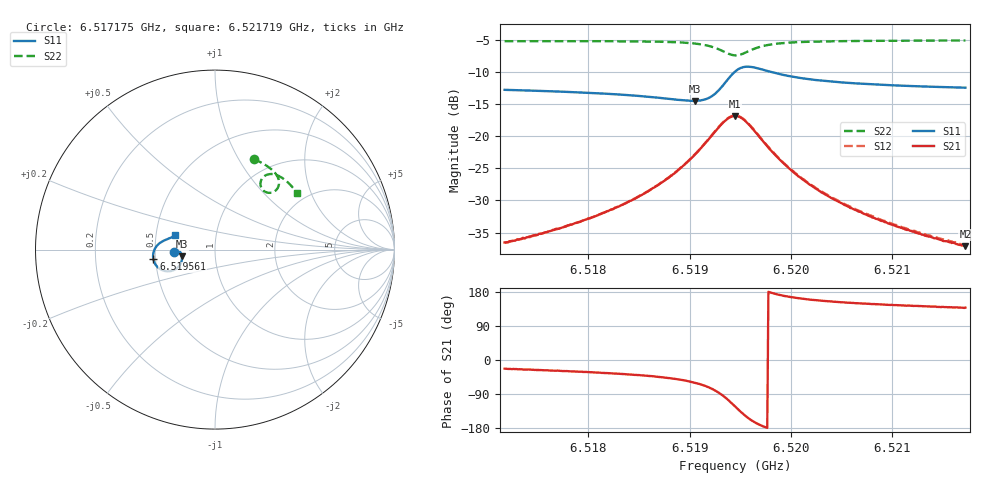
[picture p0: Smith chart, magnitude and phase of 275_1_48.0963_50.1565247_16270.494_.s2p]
#  HZ  S  RI  R  50.00
! Rohde & Schwarz Vector Network Analyzer
! Rohde-Schwarz,ZNB20-2Port,1311601062101988,3.16
! Created: UTC 12/23/2023, 4:02:11 AM
! freq[Hz]  re:S11  im:S11  re:S21  im:S21  re:S12  im:S12  re:S22  im:S22
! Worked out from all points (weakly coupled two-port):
!   401 points, 6.517175 GHz to 6.521719 GHz, reference 50 ohm
!   highest |S21| = -16.85 dB at 6.519447 GHz (marker M1); lowest = -37.1 dB at 6.521719 GHz (marker M2)
!   lowest |S11| = -14.5 dB at 6.519049 GHz (marker M3), VSWR 1.46, Z = 34.3 - j2.6 ohm
!   |S11| at or under -10 dB: start of sweep to 6.519444 GHz; 6.519802 GHz to end of sweep
!   |S22| runs from -7.4 to -5.1 dB; largest |S21 - S12| = 0.0044
!   S11 on the Smith chart (normalised r, x): 6.517175 GHz: 0.63, -0.02; 6.519561 GHz: 0.49, -0.06; 6.521719 GHz: 0.63, +0.11
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6.5171748e9  -0.2292 -0.0136  0.0137 -0.00578  0.0137 -0.00543  0.2157 0.5046
6.5175611e9  -0.2245 -0.008  0.0157 -0.00805  0.016 -0.0075  0.244 0.4917
6.517936e9  -0.2188 -0.00409  0.0188 -0.0112  0.0191 -0.0106  0.2716 0.4769
6.5183563e9  -0.2097 -0.00274  0.0237 -0.018  0.0243 -0.0173  0.3033 0.4561
6.5186972e9  -0.1989 -0.00831  0.03 -0.0296  0.031 -0.0288  0.3298 0.4326
6.5188676e9  -0.1918 -0.0168  0.0337 -0.0407  0.0351 -0.0399  0.3431 0.4155
6.5190494e9  -0.1846 -0.0365  0.036 -0.0619  0.0381 -0.0612  0.3548 0.3888
6.5191516e9  -0.1847 -0.057  0.0324 -0.0815  0.035 -0.0811  0.3567 0.3672
6.5192311e9  -0.1921 -0.0797  0.0223 -0.1018  0.0255 -0.1019  0.351 0.3462
6.5193561e9  -0.237 -0.1171  -0.0233 -0.1312  -0.0196 -0.133  0.3158 0.3174
6.5194016e9  -0.266 -0.1211  -0.0501 -0.1316  -0.0464 -0.1341  0.2946 0.317
6.519447e9  -0.2972 -0.1131  -0.0769 -0.1214  -0.0741 -0.1245  0.2739 0.3257
6.5195038e9  -0.3283 -0.0877  -0.1017 -0.0955  -0.0998 -0.0993  0.2568 0.348
6.5195606e9  -0.3432 -0.0542  -0.1112 -0.0649  -0.1102 -0.0686  0.2537 0.3732
6.5196629e9  -0.3389 -0.00414  -0.1019 -0.0226  -0.1021 -0.0257  0.2706 0.4055
6.5197878e9  -0.3173 0.0284  -0.0795 0.00175  -0.0804 -0.000544  0.2989 0.4199
6.519981e9  -0.2898 0.0479  -0.0546 0.0128  -0.0555 0.0113  0.3328 0.4187
6.5202082e9  -0.27 0.0565  -0.038 0.0148  -0.0389 0.0138  0.3599 0.4081
6.5205604e9  -0.2522 0.0632  -0.0249 0.0136  -0.0257 0.0131  0.3899 0.388
6.5209694e9  -0.2398 0.069  -0.0171 0.0118  -0.0178 0.0115  0.4168 0.3634
6.5213216e9  -0.2321 0.0739  -0.0131 0.0105  -0.0138 0.0104  0.4367 0.3421
6.5217192e9  -0.225 0.0791  -0.0104 0.0093  -0.0109 0.00942  0.4565 0.3172
